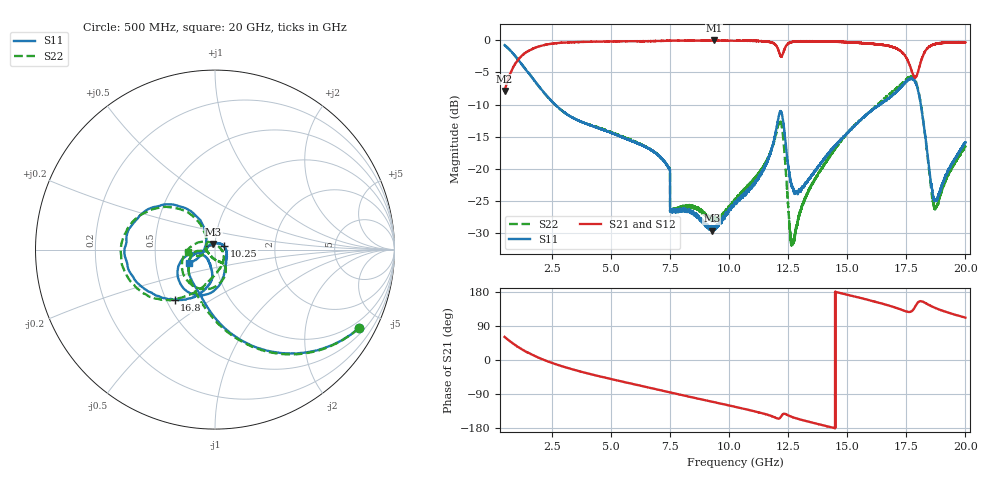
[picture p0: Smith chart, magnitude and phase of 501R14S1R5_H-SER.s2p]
!{501R14S1R5}
!Johanson Technology Inc.
!www.johansontechnology.com
!Test Board Conditions:
!Substrate Type  RO4350B
!Substrate Thickness  20 mil
!Substrate Dk  3.66
!TL Type: GCPW
!TL Trace Width  36 mil
!TL Gap  12 mil
!Electrode orientation  Horizontal
!DUT TOPOLOGY	SERIES
!Mounting Pad LxW  26x36 mil
! Created Wed Mar 11 15:55:26 2020
# mhz S ma R 50
! 2 Port Network Data from SP1.SP block
! freq  magS11  angS11  magS21  angS21  magS12  angS12  magS22  angS22
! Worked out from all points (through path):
!   19501 points, 500 MHz to 20 GHz, reference 50 ohm
!   highest |S21| = -0.06 dB at 9.362 GHz (marker M1); lowest = -7.9 dB at 500 MHz (marker M2)
!   group delay of S21, straight-line fit = 39.3 ps
!   lowest |S11| = -29.6 dB at 9.268 GHz (marker M3), VSWR 1.07, Z = 49 + j3.12 ohm
!   |S11| at or under -10 dB: 2.639 GHz to 16.38 GHz (13.74 GHz wide, 144 % of centre); 16.38017 GHz to 16.38646 GHz (6.295 MHz wide, 0.0384 % of centre); 18.11 GHz to end of sweep (the widest 3 of 5)
!   |S22| runs from -32.0 to -0.8 dB; largest |S21 - S12| = 0.016
!   S11 on the Smith chart (normalised r, x): 500 MHz: 0.72, -3.80; 10.25 GHz: 1.11, +0.04; 16.8 GHz: 0.55, -0.35; 20 GHz: 0.74, -0.11
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500  0.9132 -28.6  0.4021 60.9  0.4033 61.0  0.9121 -28.8
1036  0.7184 -53.7  0.69 35.8  0.689 35.7  0.7182 -54.3
1870  0.4577 -81.1  0.8828 8.0  0.8835 8.0  0.4564 -82.3
3750  0.2326 -118.7  0.9668 -31.1  0.9679 -31.1  0.2322 -123.4
7000  0.1281 -165.2  0.9842 -78.4  0.9848 -78.4  0.1282 -169.1
7403  0.1048 -169.7  0.988 -84.1  0.9867 -84.1  0.1048 -174.6
7598  0.04637 -168.2  0.9906 -86.8  0.9919 -86.8  0.04717 -175.0
9268  0.0332 106.5  0.9906 -109.9  0.9908 -109.9  0.03993 -148.8
9362  0.035 96.4  0.9935 -111.2  0.9907 -111.3  0.04086 -142.9
10250  0.0548 20.7  0.99 -123.5  0.9889 -123.5  0.05861 -88.2
10252  0.05466 19.7  0.9882 -123.5  0.9891 -123.5  0.05712 -87.2
11526  0.1057 -55.7  0.977 -142.7  0.9769 -142.6  0.1098 -58.1
12170  0.2796 -119.3  0.7553 -151.9  0.7592 -152.0  0.2346 -125.8
12673  0.07185 -155.6  0.9658 -150.5  0.9681 -150.5  0.0259 54.0
13500  0.08942 -107.5  0.9797 -164.9  0.9796 -165.0  0.07566 -51.2
16750  0.3511 -128.2  0.902 143.9  0.8921 143.6  0.3763 -131.2
16805  0.3593 -128.9  0.8962 142.8  0.8877 142.7  0.383 -133.0
17452  0.4682 -156.2  0.754 129.0  0.7495 128.9  0.4881 -154.7
17895  0.4655 157.8  0.5165 143.0  0.511 143.7  0.4833 161.1
18278  0.1949 117.5  0.8076 151.3  0.8082 151.6  0.1928 121.7
18727  0.05717 162.3  0.9328 137.2  0.9308 137.3  0.04934 169.4
20000  0.1611 -153.0  0.96 111.8  0.958 112.0  0.1493 -174.3
